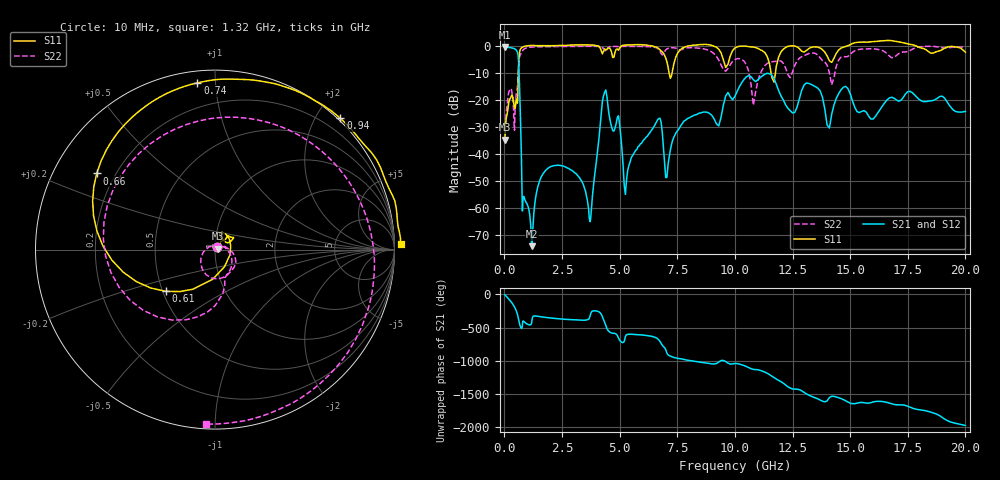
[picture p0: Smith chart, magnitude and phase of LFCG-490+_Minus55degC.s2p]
! Mini-Circuits
! S2P DATA File Format
! Type: LOW PASS FILTER
! Model: LFCG-490+
! All S Parameters are in dB deg format
! TEST CONDITIONS: INPUT POWER = 0 dBm @ Temperature = -55 deg C
# MHz S dB R 50
!Frequency  S11 dB  S11 DEG  S21 dB  S21 DEG  S12 dB  S12 DEG  S22 dB  S22 DEG
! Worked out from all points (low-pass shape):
!   460 points, 10 MHz to 20 GHz, reference 50 ohm
!   highest |S21| = -0.24 dB at 16 MHz (marker M1); lowest = -74.1 dB at 1.2 GHz (marker M2)
!   |S21| within 3 dB of the highest: start of sweep to 592 MHz
!   lowest |S11| = -34.6 dB at 20 MHz (marker M3), VSWR 1.04, Z = 51.8 + j0.541 ohm
!   |S11| at or under -10 dB: start of sweep to 606.1 MHz; 7.147 GHz to 7.271 GHz (123.7 MHz wide, 1.72 % of centre); 11.57 GHz to 11.76 GHz (183.5 MHz wide, 1.57 % of centre)
!   |S22| runs from -35.6 to 0.0 dB; largest |S21 - S12| = 0.0017
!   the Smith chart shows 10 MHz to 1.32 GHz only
!   S11 on the Smith chart (normalised r, x): 10 MHz: 1.03, +0.03; 610 MHz: 0.52, -0.28; 660 MHz: 0.13, +0.29; 740 MHz: 0.06, +0.90; 940 MHz: -0.04, +2.34; 1.32 GHz: -32, +29
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10  -34.35 46.7  -0.24 -3.8  -0.24 -3.8  -35.59 44.9
16  -34.26 18.3  -0.24 -5.9  -0.24 -5.9  -34.56 28.2
20  -34.59 16.2  -0.24 -7.3  -0.24 -7.4  -34.70 29.2
400  -20.94 26.8  -0.78 -167.3  -0.78 -167.3  -23.55 -168.0
530  -19.53 59.9  -1.59 98.2  -1.59 98.2  -16.85 -55.4
610  -8.88 -139.8  -4.83 -8.8  -4.83 -8.8  -8.27 -104.2
660  -2.12 147.2  -15.26 -89.2  -15.26 -89.2  -3.92 166.2
740  -0.59 96.0  -41.36 -152.3  -41.36 -152.4  -2.29 66.9
940  0.10 46.3  -57.89 -77.1  -57.85 -77.3  -0.63 -32.7
1200  0.31 13.0  -74.12 -24.0  -74.29 -26.1  -0.28 -80.3
1320  0.30 1.8  -58.35 34.3  -58.35 33.7  -0.24 -93.0
3360  0.50 -87.1  -50.00 -28.7  -50.05 -28.7  -0.01 -158.7
3720  0.44 -96.3  -65.07 41.2  -65.02 40.5  -0.01 -163.8
4350  -1.00 -101.4  -17.04 -58.6  -17.04 -58.7  -1.27 -176.0
5250  0.43 -104.0  -54.91 84.8  -54.90 85.0  -0.02 176.4
6700  -0.92 -159.5  -26.79 33.5  -26.78 33.3  -1.25 132.0
7400  -5.01 -44.2  -32.85 126.2  -32.84 126.0  -0.61 121.5
9000  0.33 -158.0  -25.59 33.4  -25.58 33.2  -2.14 28.4
10100  -0.23 -157.1  -16.66 37.2  -16.66 37.0  -4.60 95.6
13400  -0.23 154.6  -14.56 -105.9  -14.56 -106.3  -2.48 155.6
16700  2.16 127.0  -19.16 164.1  -19.15 163.7  -3.59 132.0
20000  -2.20 67.2  -24.16 -173.0  -24.15 -173.7  -0.30 135.0
